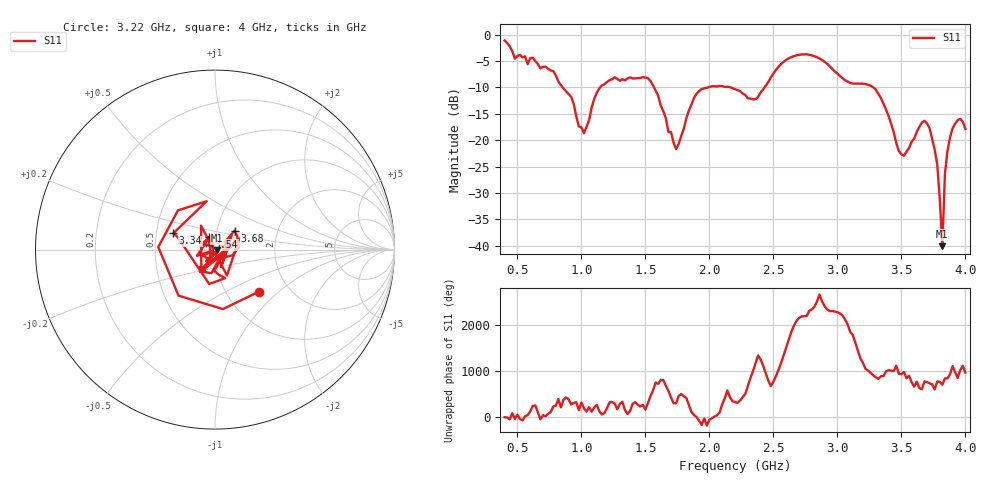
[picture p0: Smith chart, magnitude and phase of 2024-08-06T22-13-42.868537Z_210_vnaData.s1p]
!Created with skrf (http://scikit-rf.org).
# Hz S RI R 50.0
!freq ReS11 ImS11
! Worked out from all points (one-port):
!   181 points, 400 MHz to 4 GHz, reference 50 ohm
!   lowest |S11| = -40.1 dB at 3.82 GHz (marker M1), VSWR 1.02, Z = 50.9 - j0.44 ohm
!   |S11| at or under -10 dB: 853.5 MHz to 1.147 GHz (293.5 MHz wide, 29.3 % of centre); 1.567 GHz to 1.991 GHz (423.5 MHz wide, 23.8 % of centre); 3.28 GHz to end of sweep (the widest 3 of 4)
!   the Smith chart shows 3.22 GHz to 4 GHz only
!   S11 on the Smith chart (normalised r, x): 3.22 GHz: 1.42, -0.75; 3.34 GHz: 0.61, +0.12; 3.54 GHz: 0.93, +0.13; 3.68 GHz: 1.21, +0.26; 4 GHz: 0.85, -0.18
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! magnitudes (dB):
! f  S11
! 400 MHz  -1.1
! 480 MHz  -4.6
! 860 MHz  -10.2
! 1.02 GHz  -18.7
! 1.14 GHz  -10.2
! 1.3 GHz  -8.8
! 1.52 GHz  -8.3
! 1.74 GHz  -21.7
! 1.76 GHz  -20.7
! 1.92 GHz  -10.7
! 2.2 GHz  -10.3
! 2.36 GHz  -12.3
! 2.66 GHz  -4.1
! 2.84 GHz  -4.3
! 3.1 GHz  -9.2
! 3.22 GHz  -9.4
! 3.34 GHz  -12.1
! 3.48 GHz  -22.1
! 3.54 GHz  -22.2
! 3.56 GHz  -21.5
! 3.68 GHz  -16.3
! 3.72 GHz  -17.7
! 3.78 GHz  -24.6
! 3.82 GHz  -40.1
! 3.84 GHz  -26.4
! 3.88 GHz  -19.5
! 3.94 GHz  -16.2
! 4 GHz  -17.9
